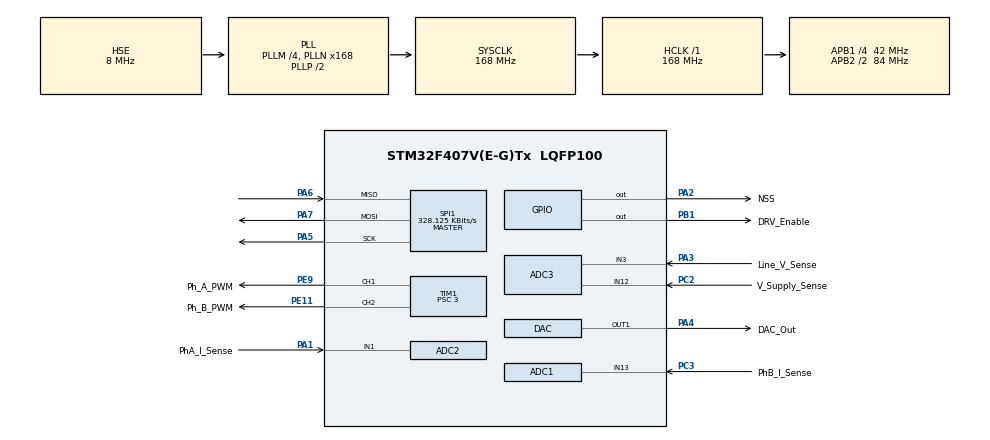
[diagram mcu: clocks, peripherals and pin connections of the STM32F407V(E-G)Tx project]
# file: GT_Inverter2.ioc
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ADC1.Channel-0\#ChannelRegularConversion=ADC_CHANNEL_13
ADC1.ClockPrescaler=ADC_CLOCK_SYNC_PCLK_DIV8
ADC1.ContinuousConvMode=ENABLE
ADC1.DMAContinuousRequests=ENABLE
ADC1.EnableAnalogWatchDog=false
ADC1.InjNumberOfConversion=0
ADC1.NbrOfConversionFlag=1
ADC1.Rank-0\#ChannelRegularConversion=1
ADC1.SamplingTime-0\#ChannelRegularConversion=ADC_SAMPLETIME_56CYCLES
ADC1.ScanConvMode=DISABLE
ADC1.master=1
ADC2.Channel-2\#ChannelRegularConversion=ADC_CHANNEL_1
ADC2.ClockPrescaler=ADC_CLOCK_SYNC_PCLK_DIV8
ADC2.ContinuousConvMode=ENABLE
ADC2.DMAContinuousRequests=ENABLE
ADC2.NbrOfConversionFlag=1
ADC2.Rank-2\#ChannelRegularConversion=1
ADC2.SamplingTime-2\#ChannelRegularConversion=ADC_SAMPLETIME_56CYCLES
ADC3.Channel-0\#ChannelRegularConversion=ADC_CHANNEL_3
ADC3.Channel-1\#ChannelRegularConversion=ADC_CHANNEL_12
ADC3.ClockPrescaler=ADC_CLOCK_SYNC_PCLK_DIV8
ADC3.ContinuousConvMode=ENABLE
ADC3.DMAContinuousRequests=ENABLE
ADC3.NbrOfConversion=2
ADC3.NbrOfConversionFlag=1
ADC3.Rank-0\#ChannelRegularConversion=1
ADC3.Rank-1\#ChannelRegularConversion=2
ADC3.SamplingTime-0\#ChannelRegularConversion=ADC_SAMPLETIME_144CYCLES
ADC3.SamplingTime-1\#ChannelRegularConversion=ADC_SAMPLETIME_144CYCLES
ADC3.ScanConvMode=ENABLE
Dma.ADC1.0.Direction=DMA_PERIPH_TO_MEMORY
Dma.ADC1.0.FIFOMode=DMA_FIFOMODE_DISABLE
Dma.ADC1.0.Instance=DMA2_Stream0
Dma.ADC1.0.MemDataAlignment=DMA_MDATAALIGN_HALFWORD
Dma.ADC1.0.MemInc=DMA_MINC_ENABLE
Dma.ADC1.0.Mode=DMA_CIRCULAR
Dma.ADC1.0.PeriphDataAlignment=DMA_PDATAALIGN_HALFWORD
Dma.ADC1.0.PeriphInc=DMA_PINC_DISABLE
Dma.ADC1.0.Priority=DMA_PRIORITY_HIGH
Dma.ADC2.1.Direction=DMA_PERIPH_TO_MEMORY
Dma.ADC2.1.FIFOMode=DMA_FIFOMODE_DISABLE
Dma.ADC2.1.Instance=DMA2_Stream2
Dma.ADC2.1.MemDataAlignment=DMA_MDATAALIGN_HALFWORD
Dma.ADC2.1.MemInc=DMA_MINC_ENABLE
Dma.ADC2.1.Mode=DMA_CIRCULAR
Dma.ADC2.1.PeriphDataAlignment=DMA_PDATAALIGN_HALFWORD
Dma.ADC2.1.PeriphInc=DMA_PINC_DISABLE
Dma.ADC2.1.Priority=DMA_PRIORITY_HIGH
Dma.ADC3.2.Direction=DMA_PERIPH_TO_MEMORY
Dma.ADC3.2.FIFOMode=DMA_FIFOMODE_DISABLE
Dma.ADC3.2.Instance=DMA2_Stream1
Dma.ADC3.2.MemDataAlignment=DMA_MDATAALIGN_HALFWORD
Dma.ADC3.2.MemInc=DMA_MINC_ENABLE
Dma.ADC3.2.Mode=DMA_CIRCULAR
Dma.ADC3.2.PeriphDataAlignment=DMA_PDATAALIGN_HALFWORD
Dma.ADC3.2.PeriphInc=DMA_PINC_DISABLE
Dma.ADC3.2.Priority=DMA_PRIORITY_MEDIUM
Dma.Request0=ADC1
Dma.Request1=ADC2
Dma.Request2=ADC3
Mcu.Family=STM32F4
Mcu.Name=STM32F407V(E-G)Tx
Mcu.Package=LQFP100
NVIC.DMA2_Stream0_IRQn=true\:0\:0\:false\:false\:true\:false\:true
NVIC.DMA2_Stream1_IRQn=true\:0\:0\:false\:false\:true\:false\:true
NVIC.DMA2_Stream2_IRQn=true\:0\:0\:false\:false\:true\:false\:true
NVIC.PriorityGroup=NVIC_PRIORITYGROUP_4
PA1.GPIO_Label=PhA_I_Sense
PA1.Signal=ADCx_IN1
PA2.GPIO_Label=NSS
PA2.GPIO_Speed=GPIO_SPEED_FREQ_HIGH
PA2.Signal=GPIO_Output
PA3.GPIO_Label=Line_V_Sense
PA3.Signal=ADCx_IN3
PA4.GPIO_Label=DAC_Out
PA4.Signal=COMP_DAC1_group
PA5.Mode=Full_Duplex_Master
PA5.Signal=SPI1_SCK
PA6.Mode=Full_Duplex_Master
PA6.Signal=SPI1_MISO
PA7.Mode=Full_Duplex_Master
PA7.Signal=SPI1_MOSI
PB1.GPIO_Label=DRV_Enable
PB1.GPIO_Speed=GPIO_SPEED_FREQ_HIGH
PB1.Signal=GPIO_Output
PC2.GPIO_Label=V_Supply_Sense
PC2.Signal=ADCx_IN12
PC3.GPIO_Label=PhB_I_Sense
PC3.Signal=ADCx_IN13
PE11.GPIO_Label=Ph_B_PWM
PE11.GPIO_Speed=GPIO_SPEED_FREQ_VERY_HIGH
PE11.Signal=S_TIM1_CH2
PE9.GPIO_Label=Ph_A_PWM
PE9.GPIO_Speed=GPIO_SPEED_FREQ_VERY_HIGH
PE9.Signal=S_TIM1_CH1
PH0-OSC_IN.Mode=HSE-External-Oscillator
PH0-OSC_IN.Signal=RCC_OSC_IN
PH1-OSC_OUT.Mode=HSE-External-Oscillator
PH1-OSC_OUT.Signal=RCC_OSC_OUT
ProjectManager.HeapSize=0x200
ProjectManager.StackSize=0x400
ProjectManager.TargetToolchain=MDK-ARM V5
RCC.48MHZClocksFreq_Value=84000000
RCC.AHBFreq_Value=168000000
RCC.APB1CLKDivider=RCC_HCLK_DIV4
RCC.APB1Freq_Value=42000000
RCC.APB1TimFreq_Value=84000000
RCC.APB2CLKDivider=RCC_HCLK_DIV2
RCC.APB2Freq_Value=84000000
RCC.APB2TimFreq_Value=168000000
RCC.CortexFreq_Value=168000000
RCC.HCLKFreq_Value=168000000
RCC.HSE_VALUE=8000000
RCC.HSI_VALUE=16000000
RCC.LSE_VALUE=32768
RCC.PLLM=4
RCC.PLLN=168
RCC.PLLSourceVirtual=RCC_PLLSOURCE_HSE
RCC.SYSCLKFreq_VALUE=168000000
RCC.SYSCLKSource=RCC_SYSCLKSOURCE_PLLCLK
RCC.VCOOutputFreq_Value=336000000
SH.ADCx_IN1.0=ADC2_IN1,IN1
SH.ADCx_IN12.0=ADC3_IN12,IN12
SH.ADCx_IN13.0=ADC1_IN13,IN13
SH.ADCx_IN3.0=ADC3_IN3,IN3
SH.COMP_DAC1_group.0=DAC_OUT1,DAC_OUT1
SH.S_TIM1_CH1.0=TIM1_CH1,PWM Generation1 CH1
SH.S_TIM1_CH2.0=TIM1_CH2,PWM Generation2 CH2
SPI1.BaudRatePrescaler=SPI_BAUDRATEPRESCALER_256
SPI1.CLKPhase=SPI_PHASE_2EDGE
SPI1.CalculateBaudRate=328.125 KBits/s
SPI1.DataSize=SPI_DATASIZE_8BIT
SPI1.Direction=SPI_DIRECTION_2LINES
SPI1.Mode=SPI_MODE_MASTER
SPI1.TIMode=SPI_TIMODE_DISABLE
SPI1.VirtualType=VM_MASTER
TIM1.Channel-PWM\ Generation1\ CH1=TIM_CHANNEL_1
TIM1.Channel-PWM\ Generation2\ CH2=TIM_CHANNEL_2
TIM1.Period=1023
TIM1.Prescaler=3
TIM9.Period=65535
VP_TIM1_VS_ClockSourceINT.Mode=Internal
VP_TIM9_VS_ClockSourceINT.Mode=Internal
board=custom

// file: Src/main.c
/* USER CODE BEGIN Header */
/**
  ******************************************************************************
  * @file           : main.c
  * @brief          : Main program body
  ******************************************************************************
  * @attention
  *
  * <h2><center>&copy; Copyright (c) 2020 STMicroelectronics.
  * All rights reserved.</center></h2>
  *
  * This software component is licensed by ST under BSD 3-Clause license,
  * the "License"; You may not use this file except in compliance with the
  * License. You may obtain a copy of the License at:
  *                        opensource.org/licenses/BSD-3-Clause
  *
  ******************************************************************************
  */
/* USER CODE END Header */

#include "main.h"

/* USER CODE BEGIN Includes */
#include "support.h"
#include "PID.h"
/* USER CODE END Includes */

/* USER CODE BEGIN PD */
#define					ADC_OFFSET								2048
#define         SINE_STEPS          			256                         							// Number of steps to build our sinewave in

#define					PLL_Kp										1.0e-5f
#define					PLL_Ki										4.0e-7f
#define					PLL_Kd										0.0f
#define					PLL_PERIOD								7.8e-5f
#define					PLL_ADJ_RATE_LIMIT				500.0f																		// Limit alterations in our local oscillator freq

#define					PID_Kp										0.35f
#define					PID_Ki										200.0f
#define					PID_Kd										0.0f
#define					PID_PERIOD								1.0e-4f
#define					PID_Limit									512.0f

#define					DUTY_LIMIT								1024
#define					V_SUPPLY_K								15.7																			// Divison factor for supply voltage
#define					V_LINE_K									30.4																			// Divison factor for line voltage
#define					PROPORTIONALITY_K					1975																			// (DUTY_LIMIT * V_LINE_K / V_SUPPLY_K)	(seems to minimise the voltage diff)

#define					V_SUPPLY_CUTOUT						3800

#define					PID_LOOP_PERIOD						16800																			// Timer9 ticks for PID iterations (100us)
#define					SINE_STEP_PERIOD_BASE			13125																			// Timer9 ticks for Sine lookup index increments for 50Hz
#define					SINE_STEP_PERIOD_BASE_B		40000																			// Since we're adding and subtracting from the timestamp we need this value
#define					PROTECT_LOOP_PERIOD				33600																			// Timer9 ticks for protection routine (200us)

#define					ADC_BUFFER_LENGTH					11																				// SHOULD BE AN ODD NUMBER

#define					RMS_UPPER_LIMIT						1500000																		// Actually, we don't bother with the root...
#define					RMS_LOWER_LIMIT						1200000
#define					FREQ_UPPER_LIMIT					130																				// Corrosponds to +/- 0.5Hz
#define					FREQ_LOWER_LIMIT				 -130

#define					STARTUP_MASK_CNT					5000																			// Allow 100ms to sync phase with the mains at startup
#define					RUNNING_MASK_CNT					3000																			// Once running, if out of phase for > 60ms, we shut off
#define					RESTART_MASK_CNT			 	 -1000																			// Monitor mains Vrms for 1sec before considering re-engaging
#define					GRID_BAD_FAIL_RATE				11																				//
#define					GRID_OK										0

#define					START_UP_CURRENT					0.05f																			// At startup we gradually increase our output current from this
#define					TARGET_OUTPUT_CURRENT			3.50f																			// To this
#define					CURRENT_RAMP_RATE					1.0e-4f																		// Every PROTECT_LOOP_PERIOD this increments into I output demand

#define 				CONSTRAIN(x,lower,upper)	((x)<(lower)?(lower):((x)>(upper)?(upper):(x)))
#define					MAX(x, y) 								(((x) > (y)) ? (x) : (y))
/* USER CODE END PD */

ADC_HandleTypeDef hadc1;
ADC_HandleTypeDef hadc2;
ADC_HandleTypeDef hadc3;
DMA_HandleTypeDef hdma_adc1;
DMA_HandleTypeDef hdma_adc2;
DMA_HandleTypeDef hdma_adc3;

DAC_HandleTypeDef hdac;

SPI_HandleTypeDef hspi1;

TIM_HandleTypeDef htim1;
TIM_HandleTypeDef htim9;

/* USER CODE BEGIN PV */
float    		Sine_LookupF[256]          		=     {0.00,6.28,12.56,18.83,25.09,31.34,37.56,43.77,49.94,56.09,62.20,68.28,74.31,80.30,86.24,92.13,
																								97.97,103.74,109.45,115.10,120.68,126.18,131.61,136.96,142.23,147.41,152.50,157.50,162.40,167.21,171.92,176.52,
																								181.02,185.41,189.68,193.85,197.89,201.82,205.62,209.30,212.86,216.28,219.58,222.74,225.77,228.67,231.42,234.04,
																								236.51,238.85,241.04,243.08,244.98,246.73,248.33,249.78,251.08,252.23,253.23,254.07,254.77,255.31,255.69,255.92,
																								256.00,255.92,255.69,255.31,254.77,254.07,253.23,252.23,251.08,249.78,248.33,246.73,244.98,243.08,241.04,238.85,
																								236.51,234.04,231.42,228.67,225.77,222.74,219.58,216.28,212.86,209.30,205.62,201.82,197.89,193.85,189.68,185.41,
																								181.02,176.52,171.92,167.21,162.40,157.50,152.50,147.41,142.23,136.96,131.61,126.18,120.68,115.10,109.45,103.74,
																								97.97,92.13,86.24,80.30,74.31,68.28,62.20,56.09,49.94,43.77,37.56,31.34,25.09,18.83,12.56,6.28,
																								0.00,-6.28,-12.56,-18.83,-25.09,-31.34,-37.56,-43.77,-49.94,-56.09,-62.20,-68.28,-74.31,-80.30,-86.24,-92.13,
																								-97.97,-103.74,-109.45,-115.10,-120.68,-126.18,-131.61,-136.96,-142.23,-147.41,-152.50,-157.50,-162.40,-167.21,-171.92,-176.52,
																								-181.02,-185.41,-189.68,-193.85,-197.89,-201.82,-205.62,-209.30,-212.86,-216.28,-219.58,-222.74,-225.77,-228.67,-231.42,-234.04,
																								-236.51,-238.85,-241.04,-243.08,-244.98,-246.73,-248.33,-249.78,-251.08,-252.23,-253.23,-254.07,-254.77,-255.31,-255.69,-255.92,
																								-256.00,-255.92,-255.69,-255.31,-254.77,-254.07,-253.23,-252.23,-251.08,-249.78,-248.33,-246.73,-244.98,-243.08,-241.04,-238.85,
																								-236.51,-234.04,-231.42,-228.67,-225.77,-222.74,-219.58,-216.28,-212.86,-209.30,-205.62,-201.82,-197.89,-193.85,-189.68,-185.41,
																								-181.02,-176.52,-171.92,-167.21,-162.40,-157.50,-152.50,-147.41,-142.23,-136.96,-131.61,-126.18,-120.68,-115.10,-109.45,-103.74,
																								-97.97,-92.13,-86.24,-80.30,-74.31,-68.28,-62.20,-56.09,-49.94,-43.77,-37.56,-31.34,-25.09,-18.83,-12.56,-6.28};

/* USER CODE END PV */

void SystemClock_Config(void);
static void MX_GPIO_Init(void);
static void MX_DMA_Init(void);
static void MX_TIM1_Init(void);
static void MX_ADC1_Init(void);
static void MX_SPI1_Init(void);
static void MX_ADC2_Init(void);
static void MX_ADC3_Init(void);
static void MX_TIM9_Init(void);
static void MX_DAC_Init(void);
/* USER CODE BEGIN PFP */
void DRV_Config_Calibration(void);
void DRV_Config_Six_Wire(void);
void DRV_Config_Three_Wire(void);
void DRV_Enable(void);
void DRV_Disable(void);

/* USER CODE END PFP */

int main(void)
{
  /* USER CODE BEGIN 1 */
	static int16_t 		ADC_Buffer_A[ADC_BUFFER_LENGTH];																// The DMA keeps these buffers filled with fresh ADC readings
	static int16_t 		ADC_Buffer_B[ADC_BUFFER_LENGTH];
	static int16_t		ADC_Interleaved[6];																							//

	static PIDControl PID_I;																													// PIDControl struct instance
	static PIDControl	PLL_PID;

	static int16_t		OFFSET_A						= 0;
	static int16_t		OFFSET_B						= 0;

	static uint32_t 	Mains_RMS;
	static float			I_Output_Demand 		= START_UP_CURRENT;
	static int16_t		Measured_I;																											// Stores our most up to date output current reading

	static int32_t 		Mains_Good_Bad_Counter;
  /* USER CODE END 1 */

  /* MCU Configuration--------------------------------------------------------*/

  /* Reset of all peripherals, Initializes the Flash interface and the Systick. */
  HAL_Init();

  /* Configure the system clock */
  SystemClock_Config();

  /* Initialize all configured peripherals */
  MX_GPIO_Init();
  MX_DMA_Init();
  MX_TIM1_Init();
  MX_ADC1_Init();
  MX_SPI1_Init();
  MX_ADC2_Init();
  MX_ADC3_Init();
  MX_TIM9_Init();
  MX_DAC_Init();
  /* USER CODE BEGIN 2 */
	//-------------------------------------------------------------------------------------------------------------------------------
	//###############################################################################################################################
	//-------------------------------------------------------------------------------------------------------------------------------
	// 1) Start the 3 ADC engines
		HAL_ADC_Start_DMA(&hadc1, (uint32_t*)ADC_Buffer_A, ADC_BUFFER_LENGTH);
		HAL_ADC_Start_DMA(&hadc2, (uint32_t*)ADC_Buffer_B, ADC_BUFFER_LENGTH);
		HAL_ADC_Start_DMA(&hadc3, (uint32_t*)ADC_Interleaved, 6);

	// 2) Configure our PID parameters
		PIDInit(&PID_I, PID_Kp, PID_Ki, PID_Kd, PID_PERIOD, -PID_Limit, PID_Limit, AUTOMATIC, DIRECT);
		PIDInit(&PLL_PID, PLL_Kp, PLL_Ki, PLL_Kd, PLL_PERIOD, -PLL_ADJ_RATE_LIMIT, PLL_ADJ_RATE_LIMIT, AUTOMATIC, DIRECT);
		PIDSetpointSet(&PLL_PID, 0.0);

	// 3) Start our PWM driver which uses Timer1 to power our H-bridge. Both channels start with Duty = 0
		HAL_TIM_PWM_Start(&htim1, TIM_CHANNEL_1);
		HAL_TIM_PWM_Start(&htim1, TIM_CHANNEL_2);

	// 4) Enable & Configure the DRV8301 over SPI for shunt calibration
		DRV_Enable();
		DRV_Config_Calibration();

	// 5) Read the shorted current amplifier to obtain their respective offsets
		for(int8_t i = 0; i < 10; i++)	{
			HAL_Delay(100);
			OFFSET_A += Get_Median(ADC_Buffer_A, ADC_BUFFER_LENGTH, 0.0);
			OFFSET_B += Get_Median(ADC_Buffer_B, ADC_BUFFER_LENGTH, 0.0);
		}

		OFFSET_A /= 10;																																	// We just summed up 10 readings so /10 to get avg
		OFFSET_B /= 10;

		OFFSET_A = CONSTRAIN(OFFSET_A, 1948, 2148);																			// Just for safety, constrain the allowable offset
		OFFSET_B = CONSTRAIN(OFFSET_B, 1948, 2148);

		DRV_Config_Six_Wire();
		HAL_Delay(10);

	// 6) Ensure the mains is as we expect in terms of voltage before joining at a Zero-Crossing-Point
		Mains_Good_Bad_Counter = RESTART_MASK_CNT;
		while(Mains_Good_Bad_Counter < GRID_OK)		{
			HAL_Delay(1);
			Mains_RMS = Integrate_Mains_RMS(ADC_Interleaved[0] - ADC_OFFSET);							// Update our Mains RMS measurement

			if(Mains_RMS > RMS_UPPER_LIMIT || Mains_RMS < RMS_LOWER_LIMIT)
				Mains_Good_Bad_Counter = RESTART_MASK_CNT;																	// If out of range, reset the count
			else
				Mains_Good_Bad_Counter++;
		}

		Mains_Good_Bad_Counter = STARTUP_MASK_CNT;
		Await_ZCP(ADC_Interleaved);																											// This blocks until a zero crossing point
		DRV_Config_Three_Wire();
	//------------------------------------------------------------------------------
  /* USER CODE END 2 */

  /* Infinite loop */
  /* USER CODE BEGIN WHILE */
  while (1)
  {
		// Keeps our local oscillator synchronised to the grid by implimenting a PLL with PI controller
		static uint16_t	TimeStamp_Sine = 0, Sine_Index = 0, Time_Diff;
		Time_Diff = (uint16_t)htim9.Instance->CNT - TimeStamp_Sine;
		if(Time_Diff > SINE_STEP_PERIOD_BASE && Time_Diff < SINE_STEP_PERIOD_BASE_B) {
			TimeStamp_Sine += SINE_STEP_PERIOD_BASE;

			int32_t Delayed_Line_V_Readings = Signal_Delay(ADC_Interleaved[0] - ADC_OFFSET);
			int32_t Signal_Multiple = (int32_t)Sine_LookupF[Sine_Index] * Delayed_Line_V_Readings;
			PLL_PID.input = (float)Integral(Signal_Multiple);
			PIDCompute(&PLL_PID);

			TimeStamp_Sine -= (int32_t)PLL_PID.output;
			if(++Sine_Index >= SINE_STEPS)	{Sine_Index = 0;}
		}

		// Run the PID if its period has elapsed
		static uint16_t	TimeStamp_PID = 0;	static int16_t Duty_Cycle = 0;
		Time_Diff = htim9.Instance->CNT - TimeStamp_PID;
		if(Time_Diff > PID_LOOP_PERIOD) {
			TimeStamp_PID += PID_LOOP_PERIOD;

			// Get the median of the last ADC_BUFFER_LENGTH current readings
			if(Duty_Cycle >= 0)
				Measured_I = -Get_Median(ADC_Buffer_B, ADC_BUFFER_LENGTH, OFFSET_B);
			else
				Measured_I = Get_Median(ADC_Buffer_A, ADC_BUFFER_LENGTH, OFFSET_A);

			// Get the median of the last 3 supply voltage readings
			int16_t ADC_V_Supply_Buff[3], ADC_V_Line_Buff[3];
			ADC_V_Line_Buff[0] 		= ADC_Interleaved[0];
			ADC_V_Supply_Buff[0] 	= ADC_Interleaved[1];
			ADC_V_Line_Buff[1] 		= ADC_Interleaved[2];
			ADC_V_Supply_Buff[1] 	= ADC_Interleaved[3];
			ADC_V_Line_Buff[2] 		= ADC_Interleaved[4];
			ADC_V_Supply_Buff[2] 	= ADC_Interleaved[5];
			int16_t V_Supply 			= Get_Median(ADC_V_Supply_Buff, 3, 0);
			int16_t V_Line 				= Get_Median(ADC_V_Line_Buff, 3, 2048);

			// 1) Feedforward control - use the measured mains voltage to calculate our duty to output zero current.
			int32_t Duty_Feedforward = (PROPORTIONALITY_K * (int32_t)V_Line) / V_Supply;

			// 2) PI control - On top of FF control, adjust our duty to achieve the current setpoint
			PIDSetpointSet(&PID_I, Sine_LookupF[Sine_Index] * -I_Output_Demand);
			PIDInputSet(&PID_I, (float)Measured_I);
			PIDCompute(&PID_I);

			// 3) Write our duty and constrain it
			Duty_Cycle = (int16_t)(Duty_Feedforward) + (int16_t)PIDOutputGet(&PID_I);
			Duty_Cycle = CONSTRAIN(Duty_Cycle, -DUTY_LIMIT, DUTY_LIMIT);

			if(Duty_Cycle >= 0)	{
				htim1.Instance->CCR1 = 0;
				htim1.Instance->CCR2 = Duty_Cycle;
			}
			else	{
				htim1.Instance->CCR1 = -Duty_Cycle;
				htim1.Instance->CCR2 = 0;
			}

			// Write to the DAC so we can debug
			//uint32_t DAC_Data = (uint32_t)(Measured_I + 2048);
			//HAL_DAC_SetValue(&hdac, DAC_CHANNEL_1, DAC_ALIGN_12B_R, DAC_Data);
		}

		// Keep tabs on mains RMS and Frequency. Cut out/in when things go out/in range - This works well!
		static uint16_t	TimeStamp_Protect = 0;
		Time_Diff = htim9.Instance->CNT - TimeStamp_Protect;
		if(Time_Diff > PROTECT_LOOP_PERIOD) {
			TimeStamp_Protect += PROTECT_LOOP_PERIOD;

			Mains_RMS = Integrate_Mains_RMS(ADC_Interleaved[0] - ADC_OFFSET);							// Update our mains RMS measurement

			int16_t Freq_Offset = (int16_t)PLL_PID.output;
			if(Freq_Offset > FREQ_UPPER_LIMIT || Freq_Offset < FREQ_LOWER_LIMIT) 					// If mains frequency is whacky
				Mains_Good_Bad_Counter -= GRID_BAD_FAIL_RATE;
			if(Mains_RMS > RMS_UPPER_LIMIT || Mains_RMS < RMS_LOWER_LIMIT)								// If mains RMS voltage whacky
				Mains_Good_Bad_Counter -= GRID_BAD_FAIL_RATE;
			if(ADC_Interleaved[1] > V_SUPPLY_CUTOUT)																			// If our supply voltage too high (maybe we're sinking current)
				Mains_Good_Bad_Counter -= GRID_BAD_FAIL_RATE;

			if(Mains_Good_Bad_Counter < RUNNING_MASK_CNT)																	// Slowly return any errors back to our idle count
				Mains_Good_Bad_Counter++;
			else
				Mains_Good_Bad_Counter--;

			if(Mains_Good_Bad_Counter < GRID_OK)	{
				DRV_Disable();																															// This puts the H-bridge into a high impedance state
				Sine_Index = 0;
				PID_I.iTerm = 0;
				PID_I.lastInput = 0;
				I_Output_Demand = START_UP_CURRENT;
				Mains_Good_Bad_Counter = RESTART_MASK_CNT;

				while(Mains_Good_Bad_Counter < GRID_OK)	{																		// Remain paused until the mains RMS goes back in range
					HAL_Delay(1);
					Mains_RMS = Integrate_Mains_RMS(ADC_Interleaved[0] - ADC_OFFSET);

					if(Mains_RMS > RMS_UPPER_LIMIT || Mains_RMS < RMS_LOWER_LIMIT)
						Mains_Good_Bad_Counter = RESTART_MASK_CNT;
					else
						Mains_Good_Bad_Counter++;
				}

				Mains_Good_Bad_Counter = STARTUP_MASK_CNT;
				DRV_Enable();
				DRV_Config_Six_Wire();
				Await_ZCP(ADC_Interleaved);
				DRV_Config_Three_Wire();
			}
			else if(I_Output_Demand < TARGET_OUTPUT_CURRENT)
				I_Output_Demand += CURRENT_RAMP_RATE;
		}

	//-------------------------------------------------------------------------------------------------------------------------------
	//###############################################################################################################################
	//-------------------------------------------------------------------------------------------------------------------------------
    /* USER CODE END WHILE */

  }
}

void SystemClock_Config(void)
{
  RCC_OscInitTypeDef RCC_OscInitStruct = {0};
  RCC_ClkInitTypeDef RCC_ClkInitStruct = {0};

  /** Configure the main internal regulator output voltage
  */
  __HAL_RCC_PWR_CLK_ENABLE();
  __HAL_PWR_VOLTAGESCALING_CONFIG(PWR_REGULATOR_VOLTAGE_SCALE1);
  /** Initializes the CPU, AHB and APB busses clocks
  */
  RCC_OscInitStruct.OscillatorType = RCC_OSCILLATORTYPE_HSE;
  RCC_OscInitStruct.HSEState = RCC_HSE_ON;
  RCC_OscInitStruct.PLL.PLLState = RCC_PLL_ON;
  RCC_OscInitStruct.PLL.PLLSource = RCC_PLLSOURCE_HSE;
  RCC_OscInitStruct.PLL.PLLM = 4;
  RCC_OscInitStruct.PLL.PLLN = 168;
  RCC_OscInitStruct.PLL.PLLP = RCC_PLLP_DIV2;
  RCC_OscInitStruct.PLL.PLLQ = 4;
  if (HAL_RCC_OscConfig(&RCC_OscInitStruct) != HAL_OK)
  {
    Error_Handler();
  }
  /** Initializes the CPU, AHB and APB busses clocks
  */
  RCC_ClkInitStruct.ClockType = RCC_CLOCKTYPE_HCLK|RCC_CLOCKTYPE_SYSCLK
                              |RCC_CLOCKTYPE_PCLK1|RCC_CLOCKTYPE_PCLK2;
  RCC_ClkInitStruct.SYSCLKSource = RCC_SYSCLKSOURCE_PLLCLK;
  RCC_ClkInitStruct.AHBCLKDivider = RCC_SYSCLK_DIV1;
  RCC_ClkInitStruct.APB1CLKDivider = RCC_HCLK_DIV4;
  RCC_ClkInitStruct.APB2CLKDivider = RCC_HCLK_DIV2;

  if (HAL_RCC_ClockConfig(&RCC_ClkInitStruct, FLASH_LATENCY_5) != HAL_OK)
  {
    Error_Handler();
  }
}

static void MX_ADC1_Init(void)
{

  ADC_ChannelConfTypeDef sConfig = {0};

  /** Configure the global features of the ADC (Clock, Resolution, Data Alignment and number of conversion)
  */
  hadc1.Instance = ADC1;
  hadc1.Init.ClockPrescaler = ADC_CLOCK_SYNC_PCLK_DIV8;
  hadc1.Init.Resolution = ADC_RESOLUTION_12B;
  hadc1.Init.ScanConvMode = DISABLE;
  hadc1.Init.ContinuousConvMode = ENABLE;
  hadc1.Init.DiscontinuousConvMode = DISABLE;
  hadc1.Init.ExternalTrigConvEdge = ADC_EXTERNALTRIGCONVEDGE_NONE;
  hadc1.Init.ExternalTrigConv = ADC_SOFTWARE_START;
  hadc1.Init.DataAlign = ADC_DATAALIGN_RIGHT;
  hadc1.Init.NbrOfConversion = 1;
  hadc1.Init.DMAContinuousRequests = ENABLE;
  hadc1.Init.EOCSelection = ADC_EOC_SINGLE_CONV;
  if (HAL_ADC_Init(&hadc1) != HAL_OK)
  {
    Error_Handler();
  }
  /** Configure for the selected ADC regular channel its corresponding rank in the sequencer and its sample time.
  */
  sConfig.Channel = ADC_CHANNEL_13;
  sConfig.Rank = 1;
  sConfig.SamplingTime = ADC_SAMPLETIME_56CYCLES;
  if (HAL_ADC_ConfigChannel(&hadc1, &sConfig) != HAL_OK)
  {
    Error_Handler();
  }

}

static void MX_ADC2_Init(void)
{

  ADC_ChannelConfTypeDef sConfig = {0};

  /** Configure the global features of the ADC (Clock, Resolution, Data Alignment and number of conversion)
  */
  hadc2.Instance = ADC2;
  hadc2.Init.ClockPrescaler = ADC_CLOCK_SYNC_PCLK_DIV8;
  hadc2.Init.Resolution = ADC_RESOLUTION_12B;
  hadc2.Init.ScanConvMode = DISABLE;
  hadc2.Init.ContinuousConvMode = ENABLE;
  hadc2.Init.DiscontinuousConvMode = DISABLE;
  hadc2.Init.ExternalTrigConvEdge = ADC_EXTERNALTRIGCONVEDGE_NONE;
  hadc2.Init.ExternalTrigConv = ADC_SOFTWARE_START;
  hadc2.Init.DataAlign = ADC_DATAALIGN_RIGHT;
  hadc2.Init.NbrOfConversion = 1;
  hadc2.Init.DMAContinuousRequests = ENABLE;
  hadc2.Init.EOCSelection = ADC_EOC_SINGLE_CONV;
  if (HAL_ADC_Init(&hadc2) != HAL_OK)
  {
    Error_Handler();
  }
  /** Configure for the selected ADC regular channel its corresponding rank in the sequencer and its sample time.
  */
  sConfig.Channel = ADC_CHANNEL_1;
  sConfig.Rank = 1;
  sConfig.SamplingTime = ADC_SAMPLETIME_56CYCLES;
  if (HAL_ADC_ConfigChannel(&hadc2, &sConfig) != HAL_OK)
  {
    Error_Handler();
  }

}

static void MX_ADC3_Init(void)
{

  ADC_ChannelConfTypeDef sConfig = {0};

  /** Configure the global features of the ADC (Clock, Resolution, Data Alignment and number of conversion)
  */
  hadc3.Instance = ADC3;
  hadc3.Init.ClockPrescaler = ADC_CLOCK_SYNC_PCLK_DIV8;
  hadc3.Init.Resolution = ADC_RESOLUTION_12B;
  hadc3.Init.ScanConvMode = ENABLE;
  hadc3.Init.ContinuousConvMode = ENABLE;
  hadc3.Init.DiscontinuousConvMode = DISABLE;
  hadc3.Init.ExternalTrigConvEdge = ADC_EXTERNALTRIGCONVEDGE_NONE;
  hadc3.Init.ExternalTrigConv = ADC_SOFTWARE_START;
  hadc3.Init.DataAlign = ADC_DATAALIGN_RIGHT;
  hadc3.Init.NbrOfConversion = 2;
  hadc3.Init.DMAContinuousRequests = ENABLE;
  hadc3.Init.EOCSelection = ADC_EOC_SINGLE_CONV;
  if (HAL_ADC_Init(&hadc3) != HAL_OK)
  {
    Error_Handler();
  }
  /** Configure for the selected ADC regular channel its corresponding rank in the sequencer and its sample time.
  */
  sConfig.Channel = ADC_CHANNEL_3;
  sConfig.Rank = 1;
  sConfig.SamplingTime = ADC_SAMPLETIME_144CYCLES;
  if (HAL_ADC_ConfigChannel(&hadc3, &sConfig) != HAL_OK)
  {
    Error_Handler();
  }
  /** Configure for the selected ADC regular channel its corresponding rank in the sequencer and its sample time.
  */
  sConfig.Channel = ADC_CHANNEL_12;
  sConfig.Rank = 2;
  if (HAL_ADC_ConfigChannel(&hadc3, &sConfig) != HAL_OK)
  {
    Error_Handler();
  }

}

static void MX_DAC_Init(void)
{

  DAC_ChannelConfTypeDef sConfig = {0};

  /** DAC Initialization
  */
  hdac.Instance = DAC;
  if (HAL_DAC_Init(&hdac) != HAL_OK)
  {
    Error_Handler();
  }
  /** DAC channel OUT1 config
  */
  sConfig.DAC_Trigger = DAC_TRIGGER_NONE;
  sConfig.DAC_OutputBuffer = DAC_OUTPUTBUFFER_ENABLE;
  if (HAL_DAC_ConfigChannel(&hdac, &sConfig, DAC_CHANNEL_1) != HAL_OK)
  {
    Error_Handler();
  }
  /* USER CODE BEGIN DAC_Init 2 */
	HAL_DAC_Start(&hdac, DAC_CHANNEL_1);
  /* USER CODE END DAC_Init 2 */

}

static void MX_SPI1_Init(void)
{

  /* SPI1 parameter configuration*/
  hspi1.Instance = SPI1;
  hspi1.Init.Mode = SPI_MODE_MASTER;
  hspi1.Init.Direction = SPI_DIRECTION_2LINES;
  hspi1.Init.DataSize = SPI_DATASIZE_8BIT;
  hspi1.Init.CLKPolarity = SPI_POLARITY_LOW;
  hspi1.Init.CLKPhase = SPI_PHASE_2EDGE;
  hspi1.Init.NSS = SPI_NSS_SOFT;
  hspi1.Init.BaudRatePrescaler = SPI_BAUDRATEPRESCALER_256;
  hspi1.Init.FirstBit = SPI_FIRSTBIT_MSB;
  hspi1.Init.TIMode = SPI_TIMODE_DISABLE;
  hspi1.Init.CRCCalculation = SPI_CRCCALCULATION_DISABLE;
  hspi1.Init.CRCPolynomial = 10;
  if (HAL_SPI_Init(&hspi1) != HAL_OK)
  {
    Error_Handler();
  }

}

static void MX_TIM1_Init(void)
{

  TIM_ClockConfigTypeDef sClockSourceConfig = {0};
  TIM_MasterConfigTypeDef sMasterConfig = {0};
  TIM_OC_InitTypeDef sConfigOC = {0};
  TIM_BreakDeadTimeConfigTypeDef sBreakDeadTimeConfig = {0};

  htim1.Instance = TIM1;
  htim1.Init.Prescaler = 3;
  htim1.Init.CounterMode = TIM_COUNTERMODE_UP;
  htim1.Init.Period = 1023;
  htim1.Init.ClockDivision = TIM_CLOCKDIVISION_DIV1;
  htim1.Init.RepetitionCounter = 0;
  htim1.Init.AutoReloadPreload = TIM_AUTORELOAD_PRELOAD_DISABLE;
  if (HAL_TIM_Base_Init(&htim1) != HAL_OK)
  {
    Error_Handler();
  }
  sClockSourceConfig.ClockSource = TIM_CLOCKSOURCE_INTERNAL;
  if (HAL_TIM_ConfigClockSource(&htim1, &sClockSourceConfig) != HAL_OK)
  {
    Error_Handler();
  }
  if (HAL_TIM_PWM_Init(&htim1) != HAL_OK)
  {
    Error_Handler();
  }
  sMasterConfig.MasterOutputTrigger = TIM_TRGO_RESET;
  sMasterConfig.MasterSlaveMode = TIM_MASTERSLAVEMODE_DISABLE;
  if (HAL_TIMEx_MasterConfigSynchronization(&htim1, &sMasterConfig) != HAL_OK)
  {
    Error_Handler();
  }
  sConfigOC.OCMode = TIM_OCMODE_PWM1;
  sConfigOC.Pulse = 0;
  sConfigOC.OCPolarity = TIM_OCPOLARITY_HIGH;
  sConfigOC.OCNPolarity = TIM_OCNPOLARITY_HIGH;
  sConfigOC.OCFastMode = TIM_OCFAST_DISABLE;
  sConfigOC.OCIdleState = TIM_OCIDLESTATE_RESET;
  sConfigOC.OCNIdleState = TIM_OCNIDLESTATE_RESET;
  if (HAL_TIM_PWM_ConfigChannel(&htim1, &sConfigOC, TIM_CHANNEL_1) != HAL_OK)
  {
    Error_Handler();
  }
  if (HAL_TIM_PWM_ConfigChannel(&htim1, &sConfigOC, TIM_CHANNEL_2) != HAL_OK)
  {
    Error_Handler();
  }
  sBreakDeadTimeConfig.OffStateRunMode = TIM_OSSR_DISABLE;
  sBreakDeadTimeConfig.OffStateIDLEMode = TIM_OSSI_DISABLE;
  sBreakDeadTimeConfig.LockLevel = TIM_LOCKLEVEL_OFF;
  sBreakDeadTimeConfig.DeadTime = 0;
  sBreakDeadTimeConfig.BreakState = TIM_BREAK_DISABLE;
  sBreakDeadTimeConfig.BreakPolarity = TIM_BREAKPOLARITY_HIGH;
  sBreakDeadTimeConfig.AutomaticOutput = TIM_AUTOMATICOUTPUT_DISABLE;
  if (HAL_TIMEx_ConfigBreakDeadTime(&htim1, &sBreakDeadTimeConfig) != HAL_OK)
  {
    Error_Handler();
  }
  HAL_TIM_MspPostInit(&htim1);

}

static void MX_TIM9_Init(void)
{

  TIM_ClockConfigTypeDef sClockSourceConfig = {0};

  htim9.Instance = TIM9;
  htim9.Init.Prescaler = 0;
  htim9.Init.CounterMode = TIM_COUNTERMODE_UP;
  htim9.Init.Period = 65535;
  htim9.Init.ClockDivision = TIM_CLOCKDIVISION_DIV1;
  htim9.Init.AutoReloadPreload = TIM_AUTORELOAD_PRELOAD_DISABLE;
  if (HAL_TIM_Base_Init(&htim9) != HAL_OK)
  {
    Error_Handler();
  }
  sClockSourceConfig.ClockSource = TIM_CLOCKSOURCE_INTERNAL;
  if (HAL_TIM_ConfigClockSource(&htim9, &sClockSourceConfig) != HAL_OK)
  {
    Error_Handler();
  }
  /* USER CODE BEGIN TIM9_Init 2 */
	HAL_TIM_Base_Start(&htim9);
  /* USER CODE END TIM9_Init 2 */

}

static void MX_DMA_Init(void)
{

  /* DMA controller clock enable */
  __HAL_RCC_DMA2_CLK_ENABLE();

  /* DMA interrupt init */
  /* DMA2_Stream0_IRQn interrupt configuration */
  HAL_NVIC_SetPriority(DMA2_Stream0_IRQn, 0, 0);
  HAL_NVIC_EnableIRQ(DMA2_Stream0_IRQn);
  /* DMA2_Stream1_IRQn interrupt configuration */
  HAL_NVIC_SetPriority(DMA2_Stream1_IRQn, 0, 0);
  HAL_NVIC_EnableIRQ(DMA2_Stream1_IRQn);
  /* DMA2_Stream2_IRQn interrupt configuration */
  HAL_NVIC_SetPriority(DMA2_Stream2_IRQn, 0, 0);
  HAL_NVIC_EnableIRQ(DMA2_Stream2_IRQn);

}

static void MX_GPIO_Init(void)
{
  GPIO_InitTypeDef GPIO_InitStruct = {0};

  /* GPIO Ports Clock Enable */
  __HAL_RCC_GPIOH_CLK_ENABLE();
  __HAL_RCC_GPIOC_CLK_ENABLE();
  __HAL_RCC_GPIOA_CLK_ENABLE();
  __HAL_RCC_GPIOB_CLK_ENABLE();
  __HAL_RCC_GPIOE_CLK_ENABLE();

  /*Configure GPIO pin Output Level */
  HAL_GPIO_WritePin(NSS_GPIO_Port, NSS_Pin, GPIO_PIN_RESET);

  /*Configure GPIO pin Output Level */
  HAL_GPIO_WritePin(DRV_Enable_GPIO_Port, DRV_Enable_Pin, GPIO_PIN_RESET);

  /*Configure GPIO pin : NSS_Pin */
  GPIO_InitStruct.Pin = NSS_Pin;
  GPIO_InitStruct.Mode = GPIO_MODE_OUTPUT_PP;
  GPIO_InitStruct.Pull = GPIO_NOPULL;
  GPIO_InitStruct.Speed = GPIO_SPEED_FREQ_HIGH;
  HAL_GPIO_Init(NSS_GPIO_Port, &GPIO_InitStruct);

  /*Configure GPIO pin : DRV_Enable_Pin */
  GPIO_InitStruct.Pin = DRV_Enable_Pin;
  GPIO_InitStruct.Mode = GPIO_MODE_OUTPUT_PP;
  GPIO_InitStruct.Pull = GPIO_NOPULL;
  GPIO_InitStruct.Speed = GPIO_SPEED_FREQ_HIGH;
  HAL_GPIO_Init(DRV_Enable_GPIO_Port, &GPIO_InitStruct);

}

/* USER CODE BEGIN 4 */
void DRV_Config_Calibration(void)
{
	uint8_t DRV_dataTxA[2] = {0x10, 0x00};																						// CR1: 6 wire mode
	uint8_t DRV_dataTxB[2] = {0x18, 0x38};																						// CR2: Current shunt amp gain = 40 & enable calibration mode

	HAL_GPIO_WritePin(NSS_GPIO_Port, NSS_Pin, GPIO_PIN_RESET);
	HAL_SPI_Transmit(&hspi1, DRV_dataTxA, 2, HAL_MAX_DELAY);
	HAL_GPIO_WritePin(NSS_GPIO_Port, NSS_Pin, GPIO_PIN_SET);
	HAL_Delay(1);

	HAL_GPIO_WritePin(NSS_GPIO_Port, NSS_Pin, GPIO_PIN_RESET);
	HAL_SPI_Transmit(&hspi1, DRV_dataTxB, 2, HAL_MAX_DELAY);
	HAL_GPIO_WritePin(NSS_GPIO_Port, NSS_Pin, GPIO_PIN_SET);
}

void DRV_Config_Six_Wire(void)
{
	uint8_t DRV_dataTxA[2] = {0x10, 0x00};																						// CR1: 6 wire mode
	uint8_t DRV_dataTxC[2] = {0x18, 0x08};																						// CR2: Current shunt amp gain = 40 & disable calibration more

	HAL_GPIO_WritePin(NSS_GPIO_Port, NSS_Pin, GPIO_PIN_RESET);
	HAL_SPI_Transmit(&hspi1, DRV_dataTxA, 2, HAL_MAX_DELAY);
	HAL_GPIO_WritePin(NSS_GPIO_Port, NSS_Pin, GPIO_PIN_SET);
	HAL_Delay(1);

	HAL_GPIO_WritePin(NSS_GPIO_Port, NSS_Pin, GPIO_PIN_RESET);
	HAL_SPI_Transmit(&hspi1, DRV_dataTxC, 2, HAL_MAX_DELAY);
	HAL_GPIO_WritePin(NSS_GPIO_Port, NSS_Pin, GPIO_PIN_SET);
}

void DRV_Config_Three_Wire(void)
{
	uint8_t DRV_dataTxD[2] = {0x10, 0x08};																						// CR1: 3 wire mode

	HAL_GPIO_WritePin(NSS_GPIO_Port, NSS_Pin, GPIO_PIN_RESET);
	HAL_SPI_Transmit(&hspi1, DRV_dataTxD, 2, HAL_MAX_DELAY);
	HAL_GPIO_WritePin(NSS_GPIO_Port, NSS_Pin, GPIO_PIN_SET);
}

void DRV_Disable(void)
{
	HAL_GPIO_WritePin(DRV_Enable_GPIO_Port, DRV_Enable_Pin, GPIO_PIN_RESET);					// Puts all MOSFETs into high impedance mode. All registers reset
	htim1.Instance->CCR1 = 0;
	htim1.Instance->CCR2 = 0;
}

void DRV_Enable(void)
{
	HAL_Delay(20);
	HAL_GPIO_WritePin(DRV_Enable_GPIO_Port, DRV_Enable_Pin, GPIO_PIN_SET);						// Enable the DRV8301, it boots up in its reset state.
	HAL_Delay(20);
}

/* USER CODE END 4 */

void Error_Handler(void)
{
}

/************************ (C) COPYRIGHT STMicroelectronics *****END OF FILE****/
